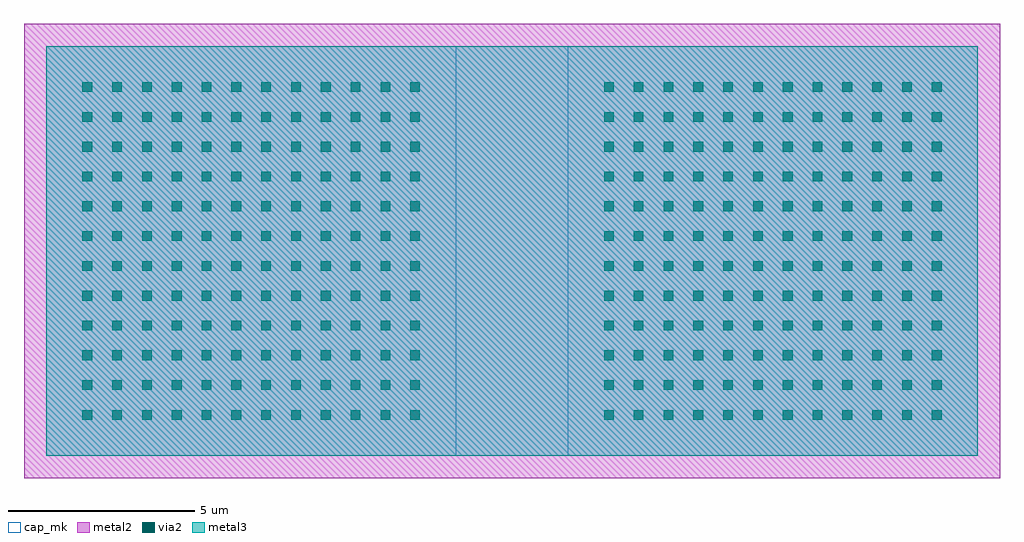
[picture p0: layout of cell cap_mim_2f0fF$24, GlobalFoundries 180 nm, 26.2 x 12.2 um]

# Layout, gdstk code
import gdstk
lib = gdstk.Library(unit=1e-6, precision=5e-09)
def R(c, l, rs):  # rectangles x0, y0, x1, y1
    for r in rs: c.add(gdstk.rectangle(r[:2], r[2:], *l))
def A(c, l, x, y, w, h, nx, ny, dx, dy):  # array of equal rectangles
    R(c, l, [(x+i*dx, y+j*dy, x+i*dx+w, y+j*dy+h) for i in range(nx) for j in range(ny)])
metal2 = (36, 0)
via2 = (38, 0)
metal3 = (42, 0)
cap_mk = (117, 5)

unnamed_539bafbf = lib.new_cell('Unnamed_539bafbf')
R(unnamed_539bafbf, metal2, [(-6.1,-6.1,6.1,6.1)])
A(unnamed_539bafbf, via2, -4.53, -4.53, 0.26, 0.26, 12, 12, 0.8, 0.8)
A(unnamed_539bafbf, metal3, -4.65, -4.65, 0.5, 0.5, 12, 12, 0.8, 0.8)
R(unnamed_539bafbf, metal3, [(-5.5,-5.5,5.5,5.5)])
R(unnamed_539bafbf, cap_mk, [(-5.5,-5.5,5.5,5.5)])

unnamed_158ab50d = lib.new_cell('Unnamed_158ab50d')
R(unnamed_158ab50d, metal2, [(-6.1,-6.1,6.1,6.1)])
A(unnamed_158ab50d, via2, -4.53, -4.53, 0.26, 0.26, 12, 12, 0.8, 0.8)
A(unnamed_158ab50d, metal3, -4.65, -4.65, 0.5, 0.5, 12, 12, 0.8, 0.8)
R(unnamed_158ab50d, metal3, [(-5.5,-5.5,5.5,5.5)])
R(unnamed_158ab50d, cap_mk, [(-5.5,-5.5,5.5,5.5)])

straight_route_80e03d33_ = lib.new_cell('straight_route_80e03d33$1')
R(straight_route_80e03d33_, metal3, [(5.5,-5.5,8.5,5.5)])

straight_route_e6ff057f_ = lib.new_cell('straight_route_e6ff057f$1')
R(straight_route_e6ff057f_, metal2, [(6.1,-6.1,7.9,6.1)])

cap_mim_2f0ff_24 = lib.new_cell('cap_mim_2f0fF$24')
cap_mim_2f0ff_24.add(gdstk.Reference(unnamed_539bafbf, (0,0)))
cap_mim_2f0ff_24.add(gdstk.Reference(unnamed_158ab50d, (14,0)))
cap_mim_2f0ff_24.add(gdstk.Reference(straight_route_80e03d33_, (0,0)))
cap_mim_2f0ff_24.add(gdstk.Reference(straight_route_e6ff057f_, (0,0)))

lib.write_gds('cap_mim_2f0fF_24.gds')
